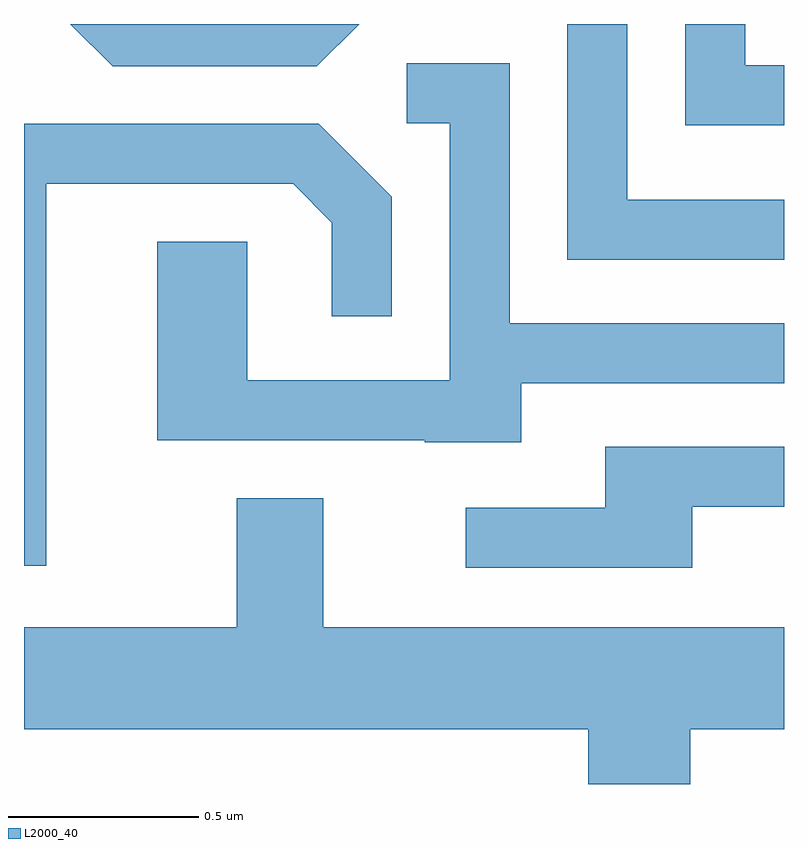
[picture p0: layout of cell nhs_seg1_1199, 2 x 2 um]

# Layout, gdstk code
import gdstk
lib = gdstk.Library(unit=1e-6, precision=1e-09)
def P(c, l, *ps):  # polygons
    for p in ps: c.add(gdstk.Polygon(p, *l))
L2000_40 = (2000, 40)

nhs_seg1_1199 = lib.new_cell('nhs_seg1_1199')
P(nhs_seg1_1199, L2000_40, [(194.493,954.712),(193.733,954.712),(193.844,954.601),(194.382,954.601)],
  [(195.611,954.249),(195.199,954.249),(195.199,954.712),(195.041,954.712),(195.041,954.091),(195.611,954.091)],
  [(195.611,954.604),(195.509,954.604),(195.509,954.712),(195.351,954.712),(195.351,954.446),(195.611,954.446)],
  [(194.919,953.766),(195.611,953.766),(195.611,953.924),(194.889,953.924),(194.889,954.609),(194.618,954.609),(194.618,954.451),(194.731,954.451),(194.731,953.774),(194.199,953.774),(194.199,954.139),(193.961,954.139),(193.961,953.616),(194.665,953.616),(194.665,953.611),(194.919,953.611)],
  [(193.669,954.291),(194.319,954.291),(194.421,954.189),(194.421,953.943),(194.579,953.943),(194.579,954.257),(194.387,954.449),(193.611,954.449),(193.611,953.286),(193.669,953.286)],
  [(195.369,953.441),(195.611,953.441),(195.611,953.599),(195.141,953.599),(195.141,953.439),(194.773,953.439),(194.773,953.281),(195.369,953.281)],
  [(195.364,952.856),(195.611,952.856),(195.611,953.124),(194.399,953.124),(194.399,953.464),(194.171,953.464),(194.171,953.124),(193.611,953.124),(193.611,952.856),(195.096,952.856),(195.096,952.712),(195.364,952.712)])

lib.write_gds('nhs_seg1_1199.gds')
